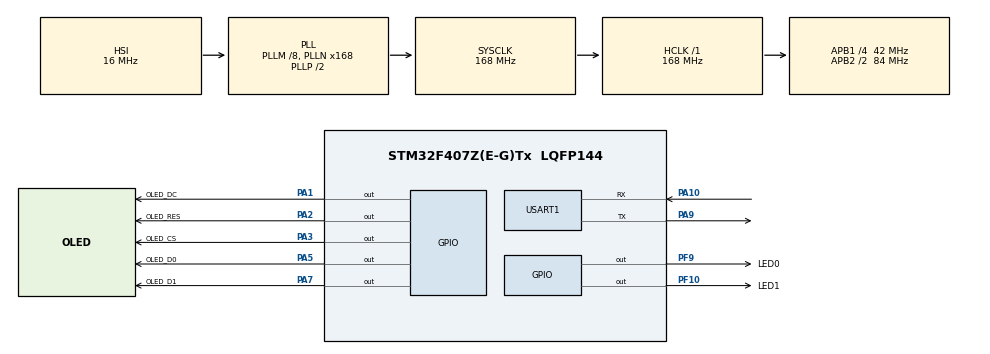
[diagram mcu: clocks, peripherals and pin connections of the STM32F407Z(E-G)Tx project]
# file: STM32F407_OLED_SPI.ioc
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Mcu.Family=STM32F4
Mcu.Name=STM32F407Z(E-G)Tx
Mcu.Package=LQFP144
NVIC.PriorityGroup=NVIC_PRIORITYGROUP_4
PA1.GPIO_Label=OLED_DC
PA1.Signal=GPIO_Output
PA10.Mode=Asynchronous
PA10.Signal=USART1_RX
PA2.GPIO_Label=OLED_RES
PA2.Signal=GPIO_Output
PA3.GPIO_Label=OLED_CS
PA3.Signal=GPIO_Output
PA5.GPIO_Label=OLED_D0
PA5.Signal=GPIO_Output
PA7.GPIO_Label=OLED_D1
PA7.Signal=GPIO_Output
PA9.Mode=Asynchronous
PA9.Signal=USART1_TX
PF10.GPIO_Label=LED1
PF10.Signal=GPIO_Output
PF9.GPIO_Label=LED0
PF9.Signal=GPIO_Output
PH0-OSC_IN.Mode=HSE-External-Oscillator
PH0-OSC_IN.Signal=RCC_OSC_IN
PH1-OSC_OUT.Mode=HSE-External-Oscillator
PH1-OSC_OUT.Signal=RCC_OSC_OUT
ProjectManager.HeapSize=0x200
ProjectManager.StackSize=0x400
ProjectManager.TargetToolchain=MDK-ARM V5
RCC.48MHZClocksFreq_Value=84000000
RCC.AHBFreq_Value=168000000
RCC.APB1CLKDivider=RCC_HCLK_DIV4
RCC.APB1Freq_Value=42000000
RCC.APB1TimFreq_Value=84000000
RCC.APB2CLKDivider=RCC_HCLK_DIV2
RCC.APB2Freq_Value=84000000
RCC.APB2TimFreq_Value=168000000
RCC.CortexFreq_Value=168000000
RCC.HCLKFreq_Value=168000000
RCC.HSE_VALUE=25000000
RCC.HSI_VALUE=16000000
RCC.LSE_VALUE=32768
RCC.PLLM=8
RCC.PLLN=168
RCC.SYSCLKFreq_VALUE=168000000
RCC.SYSCLKSource=RCC_SYSCLKSOURCE_PLLCLK
RCC.VCOOutputFreq_Value=336000000
USART1.VirtualMode=VM_ASYNC
board=STM32F407_OLED_SPI

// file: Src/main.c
/**
  ******************************************************************************
  * @file           : main.c
  * @brief          : Main program body
  ******************************************************************************
  ** This notice applies to any and all portions of this file
  * that are not between comment pairs USER CODE BEGIN and
  * USER CODE END. Other portions of this file, whether
  * inserted by the user or by software development tools
  * are owned by their respective copyright owners.
  *
  * COPYRIGHT(c) 2018 STMicroelectronics
  *
  * Redistribution and use in source and binary forms, with or without modification,
  * are permitted provided that the following conditions are met:
  *   1. Redistributions of source code must retain the above copyright notice,
  *      this list of conditions and the following disclaimer.
  *   2. Redistributions in binary form must reproduce the above copyright notice,
  *      this list of conditions and the following disclaimer in the documentation
  *      and/or other materials provided with the distribution.
  *   3. Neither the name of STMicroelectronics nor the names of its contributors
  *      may be used to endorse or promote products derived from this software
  *      without specific prior written permission.
  *
  * THIS SOFTWARE IS PROVIDED BY THE COPYRIGHT HOLDERS AND CONTRIBUTORS "AS IS"
  * AND ANY EXPRESS OR IMPLIED WARRANTIES, INCLUDING, BUT NOT LIMITED TO, THE
  * IMPLIED WARRANTIES OF MERCHANTABILITY AND FITNESS FOR A PARTICULAR PURPOSE ARE
  * DISCLAIMED. IN NO EVENT SHALL THE COPYRIGHT HOLDER OR CONTRIBUTORS BE LIABLE
  * FOR ANY DIRECT, INDIRECT, INCIDENTAL, SPECIAL, EXEMPLARY, OR CONSEQUENTIAL
  * DAMAGES (INCLUDING, BUT NOT LIMITED TO, PROCUREMENT OF SUBSTITUTE GOODS OR
  * SERVICES; LOSS OF USE, DATA, OR PROFITS; OR BUSINESS INTERRUPTION) HOWEVER
  * CAUSED AND ON ANY THEORY OF LIABILITY, WHETHER IN CONTRACT, STRICT LIABILITY,
  * OR TORT (INCLUDING NEGLIGENCE OR OTHERWISE) ARISING IN ANY WAY OUT OF THE USE
  * OF THIS SOFTWARE, EVEN IF ADVISED OF THE POSSIBILITY OF SUCH DAMAGE.
  *
  ******************************************************************************
  */
#include "main.h"
#include "stm32f4xx_hal.h"
#include "usart.h"
#include "gpio.h"

/* USER CODE BEGIN Includes */
#include "oled.h"
//#include "oledfont.h"

/* USER CODE END Includes */

/* USER CODE BEGIN PV */
/* Private variables ---------------------------------------------------------*/

/* USER CODE END PV */

void SystemClock_Config(void);

/* USER CODE BEGIN PFP */
/* Private function prototypes -----------------------------------------------*/

/* USER CODE END PFP */

int main(void)
{

  /* MCU Configuration----------------------------------------------------------*/

  /* Reset of all peripherals, Initializes the Flash interface and the Systick. */
  HAL_Init();

  /* Configure the system clock */
  SystemClock_Config();
  /* Initialize all configured peripherals */
  MX_GPIO_Init();
  MX_USART1_UART_Init();
  /* USER CODE BEGIN 2 */
	OLED_Init();
	OLED_Display_On();
  /* USER CODE END 2 */

  /* Infinite loop */
  /* USER CODE BEGIN WHILE */
  while (1)
  {
		OLED_ShowString(0,0, "STM32F407_OLED");
		OLED_ShowString(0,2, "SKYPHY");
		OLED_ShowString(0,4, "Wang Haipeng");
		OLED_ShowCHinese(0,6, 0);
		OLED_ShowCHinese(16,6, 1);
		OLED_ShowCHinese(32,6, 2);
		OLED_ShowCHinese(48,6, 3);
		OLED_ShowCHinese(64,6, 4);
		OLED_ShowCHinese(80,6, 5);
		OLED_ShowCHinese(96,6, 6);
		HAL_GPIO_TogglePin(LED0_GPIO_Port,LED0_Pin);
		HAL_Delay(100);
	  /* USER CODE END WHILE */

  }

}

void SystemClock_Config(void)
{

  RCC_OscInitTypeDef RCC_OscInitStruct;
  RCC_ClkInitTypeDef RCC_ClkInitStruct;

    /**Configure the main internal regulator output voltage
    */
  __HAL_RCC_PWR_CLK_ENABLE();

  __HAL_PWR_VOLTAGESCALING_CONFIG(PWR_REGULATOR_VOLTAGE_SCALE1);

    /**Initializes the CPU, AHB and APB busses clocks
    */
  RCC_OscInitStruct.OscillatorType = RCC_OSCILLATORTYPE_HSI;
  RCC_OscInitStruct.HSIState = RCC_HSI_ON;
  RCC_OscInitStruct.HSICalibrationValue = 16;
  RCC_OscInitStruct.PLL.PLLState = RCC_PLL_ON;
  RCC_OscInitStruct.PLL.PLLSource = RCC_PLLSOURCE_HSI;
  RCC_OscInitStruct.PLL.PLLM = 8;
  RCC_OscInitStruct.PLL.PLLN = 168;
  RCC_OscInitStruct.PLL.PLLP = RCC_PLLP_DIV2;
  RCC_OscInitStruct.PLL.PLLQ = 4;
  if (HAL_RCC_OscConfig(&RCC_OscInitStruct) != HAL_OK)
  {
    _Error_Handler(__FILE__, __LINE__);
  }

    /**Initializes the CPU, AHB and APB busses clocks
    */
  RCC_ClkInitStruct.ClockType = RCC_CLOCKTYPE_HCLK|RCC_CLOCKTYPE_SYSCLK
                              |RCC_CLOCKTYPE_PCLK1|RCC_CLOCKTYPE_PCLK2;
  RCC_ClkInitStruct.SYSCLKSource = RCC_SYSCLKSOURCE_PLLCLK;
  RCC_ClkInitStruct.AHBCLKDivider = RCC_SYSCLK_DIV1;
  RCC_ClkInitStruct.APB1CLKDivider = RCC_HCLK_DIV4;
  RCC_ClkInitStruct.APB2CLKDivider = RCC_HCLK_DIV2;

  if (HAL_RCC_ClockConfig(&RCC_ClkInitStruct, FLASH_LATENCY_5) != HAL_OK)
  {
    _Error_Handler(__FILE__, __LINE__);
  }

    /**Configure the Systick interrupt time
    */
  HAL_SYSTICK_Config(HAL_RCC_GetHCLKFreq()/1000);

    /**Configure the Systick
    */
  HAL_SYSTICK_CLKSourceConfig(SYSTICK_CLKSOURCE_HCLK);

  /* SysTick_IRQn interrupt configuration */
  HAL_NVIC_SetPriority(SysTick_IRQn, 0, 0);
}

void _Error_Handler(char *file, int line)
{
  while(1)
  {
  }
}

/************************ (C) COPYRIGHT STMicroelectronics *****END OF FILE****/
